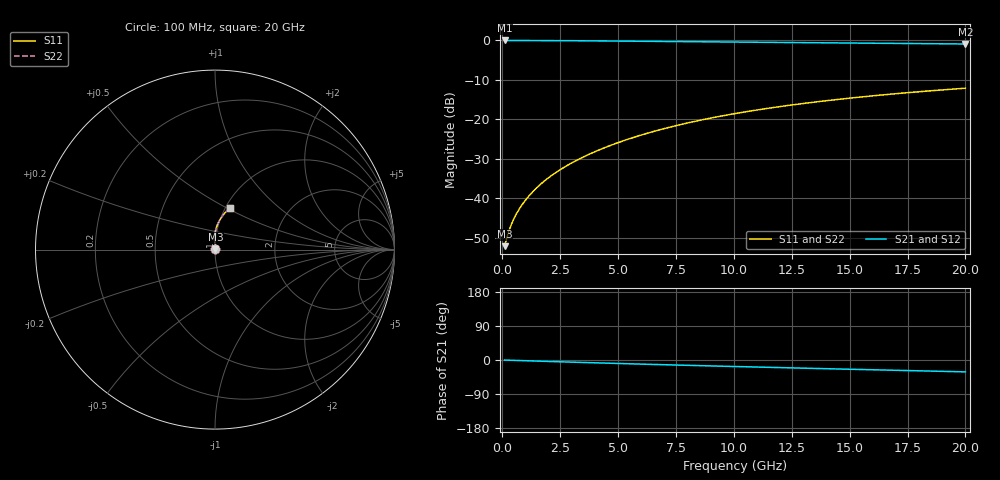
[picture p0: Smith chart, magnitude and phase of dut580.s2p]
! Touchstone file exported from HFSS 2024.1.0
!  File:  C:/UserFiles/LocalFiles/RDL_TSV_Batchsim/temp_RDL_top_580_1779682036.aedt
!  Generated:  12:09:27 PM May 25, 2026
!  Design:  RDL_top
!  Project:  temp_RDL_top_580_1779682036
!  Setup:  Setup1
!  Solution:  Sweep
! Variables:
!  dtsv = 10.80580581um
!  hbump = 3um
!  htsv = 84.28um
!  ldown = 100um
!  lrdl = 459.24um
!  p = 40
!  p1 = 49.3um
!  rhole = 1um
!  t = 450um
!  tdown = 3.915915916um
!  trdl = 2.96um
!  wdown = 15.38538539um
!  wrdl = 28.84um
# GHz S MA R 50.000000
! Terminal data exported
! Port[1] = Box2_T1
! Port[2] = Box2_T2
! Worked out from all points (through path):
!   200 points, 100 MHz to 20 GHz, reference 50 ohm
!   highest |S21| = -0.02 dB at 100 MHz (marker M1); lowest = -0.9 dB at 20 GHz (marker M2)
!   group delay of S21, straight-line fit = 4.28 ps
!   lowest |S11| = -52.2 dB at 100 MHz (marker M3), VSWR 1.00, Z = 50.2 + j0.11 ohm
!   |S11| at or under -10 dB: start of sweep to end of sweep
!   |S22| runs from -52.2 to -12.1 dB; largest |S21 - S12| = 3.1e-15
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0.1  0.002465 26.5  0.9978 -0.2  0.9978 -0.2  0.002465 26.5
! Gamma 0 0 0 0
! Port Impedance 50 0 50 0
0.2  0.003157 42.2  0.9976 -0.4  0.9976 -0.4  0.003157 42.2
0.3  0.003935 51.0  0.9974 -0.6  0.9974 -0.6  0.003935 51.0
0.4  0.00471 56.8  0.9972 -0.8  0.9972 -0.8  0.00471 56.8
0.5  0.005478 61.1  0.997 -1.0  0.997 -1.0  0.005478 61.1
0.6  0.006246 64.6  0.9969 -1.2  0.9969 -1.2  0.006246 64.6
0.8  0.00781 70.0  0.9965 -1.6  0.9965 -1.6  0.00781 70.0
1.2  0.01109 77.1  0.9958 -2.3  0.9958 -2.3  0.01108 77.1
1.7  0.01544 82.5  0.9946 -3.3  0.9946 -3.3  0.01544 82.5
2.2  0.02005 85.9  0.9932 -4.2  0.9932 -4.2  0.02005 85.9
2.8  0.02594 88.6  0.991 -5.3  0.991 -5.3  0.02593 88.6
3.5  0.03327 90.6  0.988 -6.6  0.988 -6.6  0.03326 90.6
4.2  0.0411 91.8  0.9846 -7.8  0.9846 -7.8  0.04109 91.7
5  0.05059 92.3  0.9804 -9.2  0.9804 -9.2  0.05057 92.3
5.9  0.06186 92.2  0.9754 -10.7  0.9754 -10.7  0.06183 92.1
6.8  0.07362 91.5  0.9702 -12.2  0.9702 -12.2  0.07358 91.5
8.4  0.09528 89.6  0.9609 -14.7  0.9609 -14.7  0.09522 89.6
10.1  0.1188 87.0  0.9512 -17.3  0.9512 -17.3  0.1187 86.9
11.7  0.1409 84.2  0.9424 -19.7  0.9424 -19.7  0.1408 84.2
13.4  0.164 81.2  0.9334 -22.1  0.9334 -22.1  0.1639 81.2
16.7  0.2073 75.4  0.9165 -26.8  0.9165 -26.8  0.2071 75.4
20  0.2477 69.9  0.9 -31.3  0.9 -31.3  0.2475 69.9
